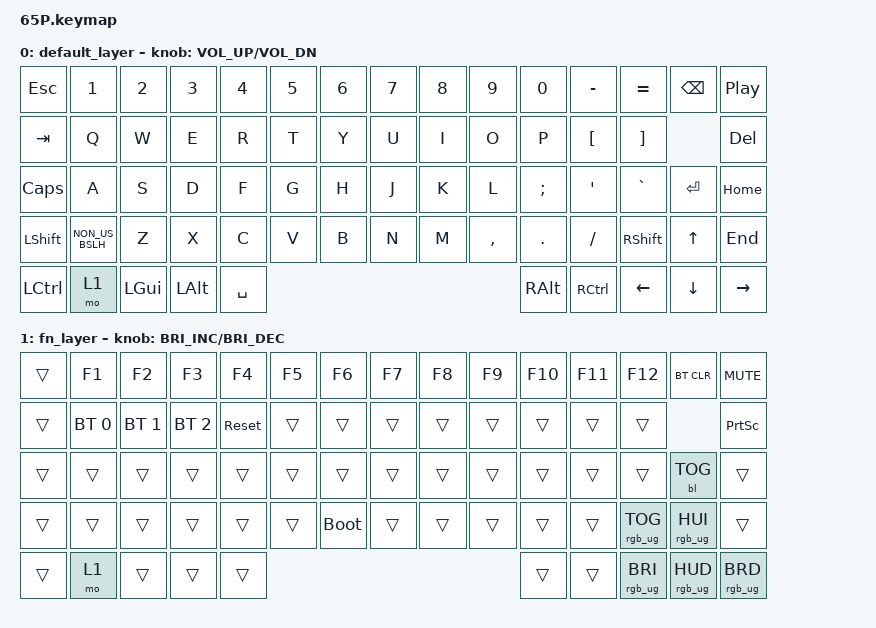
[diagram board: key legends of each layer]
#include <behaviors.dtsi>
#include <dt-bindings/zmk/keys.h>
#include <dt-bindings/zmk/bt.h>
#include <dt-bindings/zmk/rgb.h>
#include <dt-bindings/zmk/backlight.h>

&right_encoder {status = "okay";};

&led_strip {
    chain-length = <69>;
};

/ {

  keymap {
    compatible = "zmk,keymap";

    default_layer {
        // ------------------------------------------------------------------------------------------------
        // | ESC |  1  |  2  |  3  |  4  |  5  |  6  |  7  |  8  |  9  |  0  |  -  |  =  |   BSPC   | PLAY|
        // | TAB   |  Q  |  W  |  E  |  R  |  T  |  Y  |  U  |  I  |  O  |  P  |  [  |  ]  |        | DEL |
        // | CAPS   |  A  |  S  |  D  |  F  |  G  |  H  |  J  |  K  |  L  |  ;  |  '  |  `  | ENTER | HOME|
        // | SHIFT|  \  |  Z  |  X  |  C  |  V  |  B  |  N  |  M  |  ,  |  .  |  /  |  SHIFT  | UP  | END |
        // |  CTL |  Fn | WIN | ALT |            SPACE                      | ALT |RCTRL| LEFT| DOWN|RIGHT|
        // ------------------------------------------------------------------------------------------------

      bindings = <

        &kp ESC                   &kp N1    &kp N2  &kp N3  &kp N4  &kp N5  &kp N6  &kp N7  &kp N8    &kp N9    &kp N0    &kp MINUS   &kp EQUAL   &kp BSPC       &kp C_PLAY_PAUSE
        &kp TAB                   &kp Q     &kp W   &kp E   &kp R   &kp T   &kp Y   &kp U   &kp I     &kp O     &kp P     &kp LBKT    &kp RBKT                   &kp DEL
        &kp CLCK                  &kp A     &kp S   &kp D   &kp F   &kp G   &kp H   &kp J   &kp K     &kp L     &kp SEMI  &kp SQT     &kp GRAVE   &kp RET        &kp HOME
        &kp LSHFT &kp NON_US_BSLH &kp Z     &kp X   &kp C   &kp V   &kp B   &kp N   &kp M   &kp COMMA &kp DOT   &kp FSLH  &kp RSHFT                 &kp UP       &kp END
        &kp LCTRL &mo 1           &kp LGUI  &kp LALT                &kp SPACE                         &kp RALT  &kp RCTRL                 &kp LEFT  &kp DOWN  &kp RIGHT
      >;
      sensor-bindings = <&inc_dec_kp C_VOL_UP C_VOL_DN>;
    };
    fn_layer {
        // ------------------------------------------------------------------------------------------------
        // | ESC | F1  | F2  | F3  | F4  | F5  | F6  | F7  | F8  | F9  | F10 | F11 | F12 |  BL_CLR  | MUTE|
        // | TAB   |  Q  |  W  |  E  | RST |  T  |  Y  |  U  |  I  |  O  |  P  |  [  |  ]  |        |PSCRN|
        // | CAPS   |  A  |  S  |  D  |  F  |  G  |  H  |  J  |  K  |  L  |  ;  |  '  |  `  | BL_TOG| HOME|
        // | SHIFT|  \  |  Z  |  X  |  C  |  V  | BOOT|  N  |  M  |  ,  |  .  |  /  | RGB_TOG | HUI | END |
        // |  CTL |  Fn | WIN | ALT |            SPACE                      | ALT |RCTRL| BRI | HUD | BRD |
        // ------------------------------------------------------------------------------------------------

      bindings = <
        &trans   &kp F1        &kp F2       &kp F3       &kp F4     &kp F5 &kp F6      &kp F7 &kp F8 &kp F9 &kp F10 &kp F11 &kp F12 &bt BT_CLR                       &kp C_MUTE
        &trans   &bt BT_SEL 0  &bt BT_SEL 1 &bt BT_SEL 2 &sys_reset &trans &trans      &trans &trans &trans &trans  &trans  &trans                                   &kp PSCRN
        &trans   &trans        &trans       &trans       &trans     &trans &trans      &trans &trans &trans &trans  &trans  &trans  &bl BL_TOG                       &trans
        &trans   &trans        &trans       &trans       &trans     &trans &bootloader &trans &trans &trans &trans  &trans  &rgb_ug RGB_TOG      &rgb_ug RGB_HUI     &trans
        &trans   &mo 1         &trans       &trans                  &trans                           &trans &trans             &rgb_ug RGB_BRI &rgb_ug RGB_HUD &rgb_ug RGB_BRD

      //  &trans &kp F1 &kp F2 &kp F3 &kp F4 &kp F5 &kp F6 &kp F7 &kp F8 &kp F9 &kp F10 &kp F11 &kp F12 &bl BL_TOG &rgb_ug RGB_TOG
      //  &trans &trans &trans &trans &rgb_ug RGB_HUI &rgb_ug RGB_HUD &trans &trans &trans &trans &trans &kp SLCK &trans &kp PSCRN
      //  &trans   &trans &trans &trans &rgb_ug RGB_BRI &rgb_ug RGB_BRD &trans &trans &trans &trans &trans  &trans  &sys_reset  &bootloader &kp PAUSE_BREAK
      //  &trans &kp C_VOL_DN &kp C_VOL_UP &kp C_MUTE &bl BL_INC &bl BL_DEC  &trans &trans &trans &trans &trans &trans &trans  &kp HOME &kp END
      //  &bt BT_PRV &bt BT_NXT  &trans              &trans                            &trans   &trans   &trans &trans &trans  &bt BT_CLR
      >;
      sensor-bindings = <&inc_dec_kp C_BRIGHTNESS_INC C_BRIGHTNESS_DEC>;
    };
  };
};
        // Layout
        // OLD ONE _ USED FOR REF
        // ------------------------------------------------------------------------------------------------
        // | ESC |  1  |  2  |  3  |  4  |  5  |  6  |  7  |  8  |  9  |  0  |  -  |  =  |   BSPC   | DEL |
        // | TAB   |  Q  |  W  |  E  |  R  |  T  |  Y  |  U  |  I  |  O  |  P  |  [  |  ]  |        | INS |
        // | CAPS   |  A  |  S  |  D  |  F  |  G  |  H  |  J  |  K  |  L  |  ;  |  '  |  #  | ENTER | PGUP|
        // |SHIFT |  \  |  Z  |  X  |  C  |  V  |  B  |  N  |  M  |  ,  |  .  |  /  |  SHIFT  | UP  | PGDN|
        // |  CTL  |  WIN  |  ALT  |             SPACE                | ALT |  1  |RCTRL| LEFT| DOWN|RIGHT|
        // ------------------------------------------------------------------------------------------------

        // Layer
        // OLD ONE _ USED FOR REF
        // --------------------------------------------------------------------------------------------------
        // |GRAVE| F1  | F2  | F3  | F4  | F5  | F6  | F7  | F8  | F9  | F10 | F11 | F12 |  BL_TOG  |RGB_TOG|
        // | TAB  |  Q  |  W  |  E  | HUI | HUD |  Y  |  U  |  I  |  O  |  P  | SLCK|  ]  |          | PSCRN|
        // | CAPS  |  A  |  S  |  D  | BRI | BRD |  H  |  J  |  K  |  L  |  ;  |  '  |RESET|   BOOT  | P_BRK|
        // |SHIFT |VOLDN|VOLUP| MUTE|BLINC|BLDEC|  B  |  N  |  M  |  ,  |  .  |  /  |  SHIFT  | HOME |  END |
        // | BT_PRV| BT_NXT|  ALT  |            SPACE               | ALT |  1  | CTRL | LEFT | DOWN |BT_CLR|
        // --------------------------------------------------------------------------------------------------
